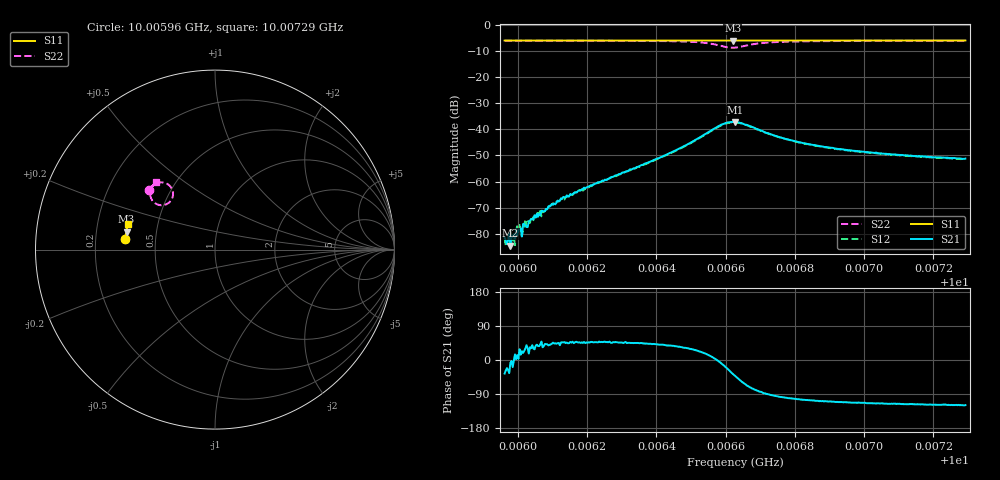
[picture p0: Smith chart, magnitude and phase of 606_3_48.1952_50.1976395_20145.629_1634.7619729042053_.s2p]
#  HZ  S  RI  R  50.00
! Rohde & Schwarz Vector Network Analyzer
! Rohde-Schwarz,ZNB20-2Port,1311601062101988,3.16
! Created: UTC 3/20/2024, 12:03:13 PM
! freq[Hz]  re:S11  im:S11  re:S21  im:S21  re:S12  im:S12  re:S22  im:S22
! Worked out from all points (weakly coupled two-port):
!   401 points, 10.00596 GHz to 10.00729 GHz, reference 50 ohm
!   highest |S21| = -37.12 dB at 10.00663 GHz (marker M1); lowest = -84.5 dB at 10.00598 GHz (marker M2)
!   lowest |S11| = -6.0 dB at 10.00662 GHz (marker M3), VSWR 3.02, Z = 16.7 + j4.47 ohm
!   |S11| at or under -10 dB: nowhere
!   |S22| runs from -8.7 to -6.0 dB; largest |S21 - S12| = 0.0011
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1.0005962e10  -0.4995 0.0582  6.92e-05 -4.97e-05  6.57e-05 -5.08e-05  -0.3698 0.3336
1.0005978e10  -0.4993 0.0593  5.9e-05 -7.91e-06  0.000119 -3.01e-06  -0.3691 0.3346
1.0005988e10  -0.4993 0.0599  9.84e-05 -2.11e-06  9.2e-05 1.17e-05  -0.3686 0.3354
1.0006002e10  -0.4992 0.0609  0.000118 6.65e-06  8.35e-05 5.35e-05  -0.3678 0.3363
1.0006005e10  -0.4991 0.0609  0.000105 5.7e-05  0.000147 1.45e-05  -0.3676 0.3364
1.0006008e10  -0.4992 0.0612  0.000124 3.11e-05  9.76e-05 4.82e-05  -0.3672 0.3367
1.0006025e10  -0.4991 0.0622  0.000105 8.52e-05  0.000119 6.7e-05  -0.3663 0.338
1.0006041e10  -0.499 0.0634  0.000149 0.00012  0.000155 0.000135  -0.3655 0.3389
1.0006058e10  -0.4987 0.0644  0.00017 0.000128  0.000205 0.000188  -0.3644 0.34
1.0006075e10  -0.4987 0.0655  0.000213 0.000159  0.000183 0.000191  -0.3634 0.3412
1.0006105e10  -0.4984 0.0675  0.000276 0.000262  0.000253 0.000278  -0.3615 0.3433
1.0006185e10  -0.4979 0.0728  0.000489 0.000515  0.000446 0.000532  -0.3555 0.3491
1.0006407e10  -0.496 0.0871  0.00213 0.00183  0.00201 0.00193  -0.3274 0.3685
1.0006544e10  -0.4942 0.0961  0.00801 0.0023  0.00769 0.00258  -0.2652 0.3657
1.0006587e10  -0.493 0.0986  0.0122 -0.00182  0.0119 -0.0011  -0.2346 0.3208
1.000662e10  -0.4925 0.1  0.0112 -0.00829  0.0115 -0.00738  -0.2543 0.2637
1.0006627e10  -0.4926 0.1005  0.0104 -0.0093  0.0106 -0.00851  -0.2648 0.2559
1.00067e10  -0.4927 0.1047  0.00104 -0.00951  0.00149 -0.00934  -0.3513 0.2772
1.000677e10  -0.4923 0.1095  -0.00105 -0.0066  -0.00069 -0.00656  -0.361 0.3125
1.000685e10  -0.4912 0.1147  -0.00145 -0.00486  -0.0012 -0.00482  -0.3574 0.3337
1.0007073e10  -0.4883 0.129  -0.00144 -0.00302  -0.00129 -0.00308  -0.3424 0.3609
1.0007293e10  -0.4849 0.1429  -0.00134 -0.00241  -0.0012 -0.00239  -0.3297 0.3763
